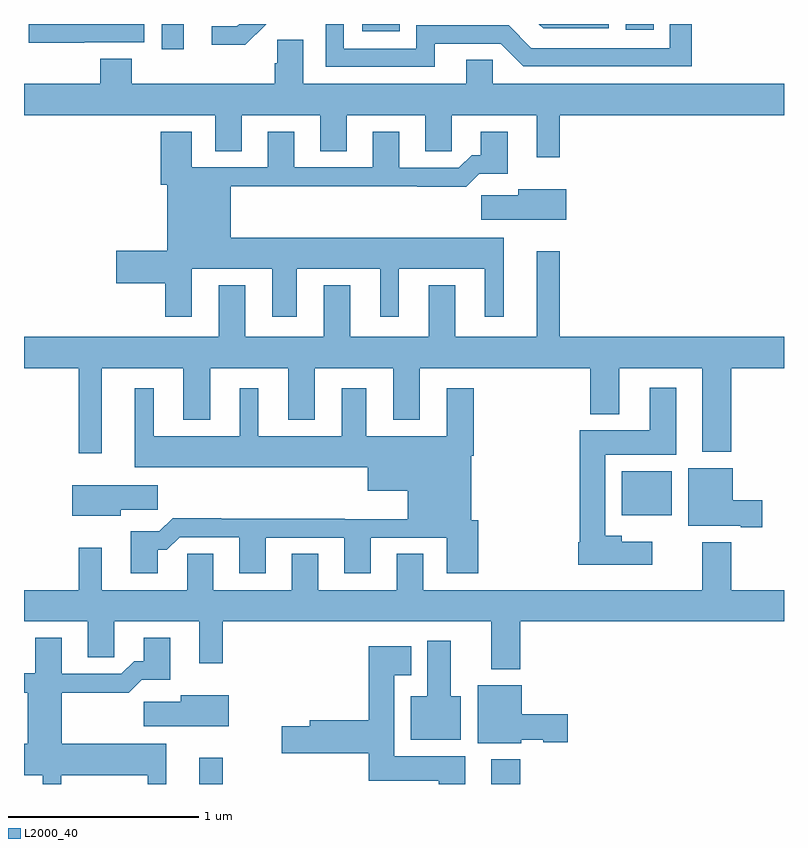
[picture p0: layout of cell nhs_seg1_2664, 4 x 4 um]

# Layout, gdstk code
import gdstk
lib = gdstk.Library(unit=1e-6, precision=1e-09)
def R(c, l, rs):  # rectangles x0, y0, x1, y1
    for r in rs: c.add(gdstk.rectangle(r[:2], r[2:], *l))
def P(c, l, *ps):  # polygons
    for p in ps: c.add(gdstk.Polygon(p, *l))
L2000_40 = (2000, 40)

nhs_seg1_2664 = lib.new_cell('nhs_seg1_2664')
R(nhs_seg1_2664, L2000_40, [(255.923,560.199,256.045,560.338), (257.459,560.199,257.612,560.329), (258.146,561.614,258.409,561.844), (255.726,564.066,255.841,564.199), (256.779,564.161,256.977,564.199), (258.168,564.168,258.314,564.199)])
P(nhs_seg1_2664, L2000_40, [(255.317,564.102),(255.633,564.102),(255.633,564.199),(255.537,564.199),(255.537,564.198),(255.141,564.198),(255.141,564.199),(255.025,564.199),(255.025,564.101),(255.317,564.101)],
  [(256.276,564.199),(256.134,564.199),(256.121,564.186),(255.987,564.186),(255.987,564.089),(256.165,564.089)],
  [(257.161,564.096),(257.508,564.096),(257.628,563.976),(258.515,563.976),(258.515,564.199),(258.399,564.199),(258.399,564.072),(257.67,564.072),(257.55,564.192),(257.064,564.192),(257.064,564.069),(256.683,564.069),(256.683,564.199),(256.587,564.199),(256.587,563.973),(257.161,563.973)],
  [(258.078,564.199),(257.71,564.199),(257.732,564.177),(258.078,564.177)],
  [(257.821,563.72),(259,563.72),(259,563.884),(257.466,563.884),(257.466,564.011),(257.327,564.011),(257.327,563.884),(256.471,563.884),(256.471,564.116),(256.332,564.116),(256.332,563.993),(256.319,563.993),(256.319,563.884),(255.566,563.884),(255.566,564.017),(255.401,564.017),(255.401,563.884),(255,563.884),(255,563.72),(256.007,563.72),(256.007,563.53),(256.147,563.53),(256.147,563.72),(256.559,563.72),(256.559,563.53),(256.699,563.53),(256.699,563.72),(257.111,563.72),(257.111,563.53),(257.25,563.53),(257.25,563.72),(257.699,563.72),(257.699,563.499),(257.821,563.499)],
  [(255.883,562.91),(256.307,562.91),(256.307,562.659),(256.435,562.659),(256.435,562.91),(256.874,562.91),(256.874,562.659),(256.972,562.659),(256.972,562.91),(257.426,562.91),(257.426,562.659),(257.524,562.659),(257.524,563.074),(256.087,563.074),(256.087,563.344),(257.071,563.344),(257.071,563.342),(257.327,563.342),(257.396,563.411),(257.545,563.411),(257.545,563.632),(257.405,563.632),(257.405,563.509),(257.356,563.509),(257.289,563.442),(256.975,563.442),(256.975,563.632),(256.835,563.632),(256.835,563.445),(256.423,563.445),(256.423,563.632),(256.283,563.632),(256.283,563.445),(255.883,563.445),(255.883,563.632),(255.719,563.632),(255.719,563.352),(255.755,563.352),(255.755,563.006),(255.486,563.006),(255.486,562.835),(255.743,562.835),(255.743,562.659),(255.883,562.659)],
  [(257.854,563.329),(257.6,563.329),(257.6,563.297),(257.406,563.297),(257.406,563.168),(257.854,563.168)],
  [(255.409,562.388),(255.839,562.388),(255.839,562.115),(255.979,562.115),(255.979,562.388),(256.391,562.388),(256.391,562.115),(256.531,562.115),(256.531,562.388),(256.943,562.388),(256.943,562.115),(257.083,562.115),(257.083,562.388),(257.981,562.388),(257.981,562.145),(258.133,562.145),(258.133,562.388),(258.569,562.388),(258.569,561.947),(258.722,561.947),(258.722,562.388),(259,562.388),(259,562.552),(257.821,562.552),(257.821,563.002),(257.699,563.002),(257.699,562.552),(257.269,562.552),(257.269,562.825),(257.129,562.825),(257.129,562.552),(256.717,562.552),(256.717,562.825),(256.577,562.825),(256.577,562.552),(256.165,562.552),(256.165,562.825),(256.025,562.825),(256.025,562.552),(255,562.552),(255,562.388),(255.288,562.388),(255.288,561.939),(255.409,561.939)],
  [(258.307,561.475),(258.145,561.475),(258.145,561.505),(258.058,561.505),(258.058,561.932),(258.433,561.932),(258.433,562.285),(258.293,562.285),(258.293,562.06),(257.924,562.06),(257.924,561.471),(257.918,561.471),(257.918,561.353),(258.307,561.353)],
  [(255.703,561.431),(255.752,561.431),(255.819,561.498),(256.133,561.498),(256.133,561.309),(256.273,561.309),(256.273,561.495),(256.685,561.495),(256.685,561.309),(256.825,561.309),(256.825,561.495),(257.225,561.495),(257.225,561.309),(257.39,561.309),(257.39,561.588),(257.353,561.588),(257.353,561.926),(257.366,561.926),(257.366,562.282),(257.225,562.282),(257.225,562.03),(256.801,562.03),(256.801,562.282),(256.673,562.282),(256.673,562.03),(256.234,562.03),(256.234,562.282),(256.136,562.282),(256.136,562.03),(255.682,562.03),(255.682,562.282),(255.584,562.282),(255.584,561.866),(256.808,561.866),(256.808,561.743),(257.021,561.743),(257.021,561.592),(256.689,561.592),(256.689,561.596),(256.037,561.596),(256.037,561.599),(255.782,561.599),(255.712,561.529),(255.563,561.529),(255.563,561.309),(255.703,561.309)],
  [(258.886,561.692),(258.73,561.692),(258.73,561.862),(258.497,561.862),(258.497,561.557),(258.773,561.557),(258.773,561.55),(258.886,561.55)],
  [(255.508,561.643),(255.703,561.643),(255.703,561.772),(255.254,561.772),(255.254,561.611),(255.508,561.611)],
  [(257.612,561.056),(259,561.056),(259,561.22),(258.722,561.22),(258.722,561.472),(258.569,561.472),(258.569,561.22),(257.101,561.22),(257.101,561.41),(256.961,561.41),(256.961,561.22),(256.549,561.22),(256.549,561.41),(256.409,561.41),(256.409,561.22),(255.997,561.22),(255.997,561.41),(255.858,561.41),(255.858,561.22),(255.409,561.22),(255.409,561.442),(255.288,561.442),(255.288,561.22),(255,561.22),(255,561.056),(255.335,561.056),(255.335,560.866),(255.474,560.866),(255.474,561.056),(255.923,561.056),(255.923,560.835),(256.045,560.835),(256.045,561.056),(257.459,561.056),(257.459,560.804),(257.612,560.804)],
  [(255.196,560.246),(255.65,560.246),(255.65,560.199),(255.748,560.199),(255.748,560.41),(255.198,560.41),(255.198,560.678),(255.551,560.678),(255.62,560.747),(255.769,560.747),(255.769,560.968),(255.629,560.968),(255.629,560.845),(255.58,560.845),(255.513,560.778),(255.199,560.778),(255.199,560.968),(255.059,560.968),(255.059,560.781),(255,560.781),(255,560.68),(255.02,560.68),(255.02,560.41),(255,560.41),(255,560.246),(255.098,560.246),(255.098,560.199),(255.196,560.199)],
  [(257.299,560.662),(257.245,560.662),(257.245,560.953),(257.123,560.953),(257.123,560.662),(257.036,560.662),(257.036,560.432),(257.299,560.432)],
  [(257.323,560.344),(256.948,560.344),(256.948,560.771),(257.038,560.771),(257.038,560.923),(256.814,560.923),(256.814,560.534),(256.505,560.534),(256.505,560.504),(256.356,560.504),(256.356,560.362),(256.814,560.362),(256.814,560.216),(257.183,560.216),(257.183,560.199),(257.323,560.199)],
  [(257.616,560.432),(257.733,560.432),(257.733,560.42),(257.863,560.42),(257.863,560.567),(257.62,560.567),(257.62,560.719),(257.387,560.719),(257.387,560.414),(257.616,560.414)],
  [(256.078,560.665),(255.824,560.665),(255.824,560.633),(255.63,560.633),(255.63,560.504),(256.078,560.504)])

lib.write_gds('nhs_seg1_2664.gds')
